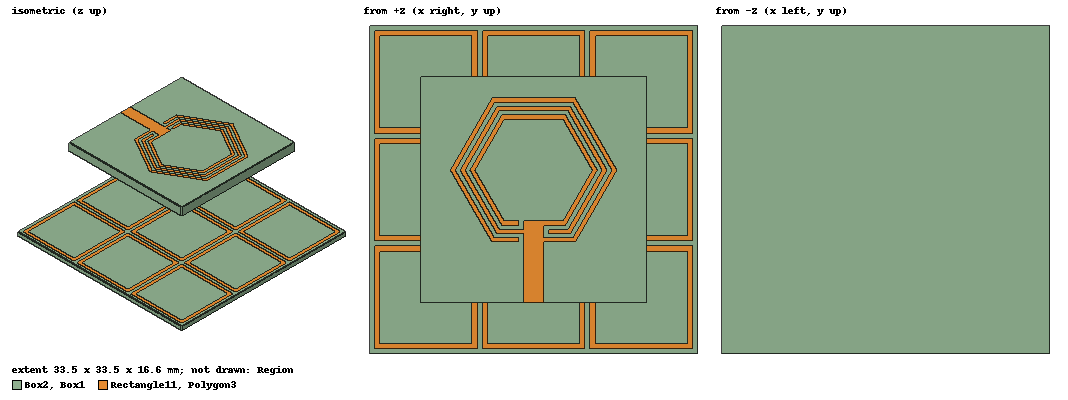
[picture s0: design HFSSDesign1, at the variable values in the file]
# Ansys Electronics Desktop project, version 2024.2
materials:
  vacuum: permittivity=1
  FR4_epoxy: permittivity=4.4 dielectric_loss_tangent=0.02
  air: permittivity=1.0006 permeability=1.0000004

design HFSSDesign1 (HFSS, HFSS Modal Network, model units mm)
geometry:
  Box1 [FR4_epoxy] = box(corner=(0mm, 0mm, 0mm), size=(23mm, 23mm, 1.6mm))
  Rectangle1 = rectangle(corner=(0mm, 0mm, 0mm), x_size=23mm, y_size=5.3mm)
  Polygon1 = regular_polygon(axis=Z, centre=(11.5mm, 13.5mm, 1.6mm), first_corner=(3mm, 13.5mm, 1.6mm), sides=6)
  Rectangle2 = rectangle(corner=(10.5mm, 0mm, 1.6mm), x_size=2mm, y_size=7.9mm)
  Rectangle3 = rectangle(corner=(10.5mm, 0mm, 1.6mm), z_size=-1.6mm, x_size=2mm)
  Polygon2 = regular_polygon(axis=Z, centre=(11.5mm, 13.5mm, 1.6mm), first_corner=(3.5mm, 13.5mm, 1.6mm), sides=6)
  Polygon1.subtract(Polygon2)
  Polygon3 = regular_polygon(axis=Z, centre=(11.5mm, 13.5mm, 1.6mm), first_corner=(4mm, 13.5mm, 1.6mm), sides=6)
  Polygon4 = regular_polygon(axis=Z, centre=(11.5mm, 13.5mm, 1.6mm), first_corner=(4.5mm, 13.5mm, 1.6mm), sides=6)
  Polygon3.subtract(Polygon4)
  Rectangle4 = rectangle(corner=(10.5mm, 6mm, 1.6mm), x_size=-0.5mm, y_size=0.7mm)
  Polygon1.subtract(Rectangle4)
  Polygon1.unite(Rectangle2)
  Polygon3.unite(Polygon1)
  Rectangle5 = rectangle(corner=(12.5mm, 7mm, 1.6mm), x_size=0.5mm, y_size=0.7mm)
  Polygon3.subtract(Rectangle5)
  Polygon5 = regular_polygon(axis=Z, centre=(11.5mm, 13.5mm, 1.6mm), first_corner=(5mm, 13.5mm, 1.6mm), sides=6)
  Polygon6 = regular_polygon(axis=Z, centre=(11.5mm, 13.5mm, 1.6mm), first_corner=(5.5mm, 13.5mm, 1.6mm), sides=6)
  Polygon5.subtract(Polygon6)
  Rectangle6 = rectangle(corner=(10.5mm, 7.8mm, 1.6mm), x_size=-0.5mm, y_size=0.6mm)
  Rectangle7 = rectangle(corner=(12.5mm, 8.7368603mm, 1.6mm), x_size=0.5mm, y_size=0.6mm)
  Rectangle8 = rectangle(corner=(10.5mm, 9.6028857mm, 1.6mm), x_size=-0.5mm, y_size=0.5mm)
  Rectangle9 = rectangle(corner=(12.5mm, 10.468911mm, 1.6mm), x_size=0.5mm, y_size=0.5mm)
  Polygon3.subtract(Rectangle6..Rectangle9)
  Polygon3.unite(Polygon5)
  Rectangle10 = rectangle(corner=(10.5mm, 7.8mm, 1.6mm), x_size=-0.5mm, y_size=0.6mm)
  Polygon3.subtract(Rectangle10)
  Region [air] = region(absolute_offset=8mm on all sides)
  Box2 [FR4_epoxy] = box(corner=(0mm, 0mm, 0mm), size=(33.5mm, 33.5mm, 0.8mm))
  Rectangle11 = rectangle(corner=(0.5mm, 11mm, 0.8mm), x_size=10.5mm, y_size=-0.55mm)
  Rectangle12 = rectangle(corner=(0.5mm, 10.5mm, 0.8mm), x_size=0.55mm, y_size=-10mm)
  Rectangle13 = rectangle(corner=(1mm, 0.5mm, 0.8mm), x_size=10mm, y_size=0.55mm)
  Rectangle14 = rectangle(corner=(10.45mm, 10.5mm, 0.8mm), x_size=0.55mm, y_size=-9.5mm)
  Rectangle11.unite(Rectangle12, Rectangle13, Rectangle14)
  Rectangle1_1 = Rectangle11.duplicate_along_line(step=(11mm, 0mm, 0mm), total=2)
  Rectangle1_2 = Rectangle11.duplicate_along_line(step=(0mm, 11mm, 0mm), total=2)
  Rectangle1_1_1 = Rectangle1_1.duplicate_along_line(step=(0mm, 11mm, 0mm), total=2)
  Rectangle1_1_2 = Rectangle1_1.duplicate_along_line(step=(11mm, 0mm, 0mm), total=2)
  Rectangle1_1_1_1 = Rectangle1_1_1.duplicate_along_line(step=(11mm, 0mm, 0mm), total=2)
  Rectangle1_1_1_2 = Rectangle1_1_1.duplicate_along_line(step=(0mm, 11mm, 0mm), total=2)
  Rectangle1_1_1_1_1 = Rectangle1_1_1_1.duplicate_along_line(step=(0mm, 11mm, 0mm), total=2)
  Rectangle1_2_1 = Rectangle1_2.duplicate_along_line(step=(0mm, 11mm, 0mm), total=2)
  Rectangle11.unite(Rectangle1_1, Rectangle1_1_1, Rectangle1_1_1_1, Rectangle1_1_1_1_1, Rectangle1_1_1_2, Rectangle1_1_2, Rectangle1_2, Rectangle1_2_1)
  [Box2, Rectangle11].move(-5.25mm, -5.25mm, -15mm)
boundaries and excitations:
  FiniteCond1: Finite Conductivity Objects=Rectangle1 Conductivity=58000000 Permeability=1 IsInternal
  FiniteCond2: Finite Conductivity Objects=Polygon3 Conductivity=58000000 Permeability=1 IsInternal
  Rad1: Radiation Objects=Region
  FiniteCond3: Finite Conductivity Objects=Rectangle11 Conductivity=58000000 Permeability=1 IsInternal
  1: Lumped Port Objects=Rectangle3 LumpedPortType=Modal Modes{Mode1{IntLine{(11.5, 0, 0) -> (11.5, 0, 1.6)} CharImp=Zpi RenormImp=50ohm}} Impedance=50ohm
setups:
  Setup1: HfssDriven Frequency=5GHz MaxDeltaS=0.02 MaximumPasses=20 MinimumPasses=1 MinimumConvergedPasses=1 PercentRefinement=30 BasisOrder=1 PortAccuracy=2 DrivenSolverType="Direct Solver"
    sweep Sweep: 1GHz to 8GHz, 1001 points; Type=Fast SaveFields
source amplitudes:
  1:1: 1W 0deg
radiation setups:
  Infinite Sphere1: Infinite Sphere Theta=0deg..360deg step 2deg Phi=0deg..360deg step 2deg
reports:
  S Parameter Plot 1: dB(S(1,1)) vs Freq on Setup1 : Sweep; dB(S(1,1)) vs Freq; markers m1 at 3.989GHz, m2 at 4.43GHz
  Gain Plot 1: dB(GainTotal) vs Phi, Theta on Setup1 : Sweep, Infinite Sphere1 [Freq=5.004GHz]
